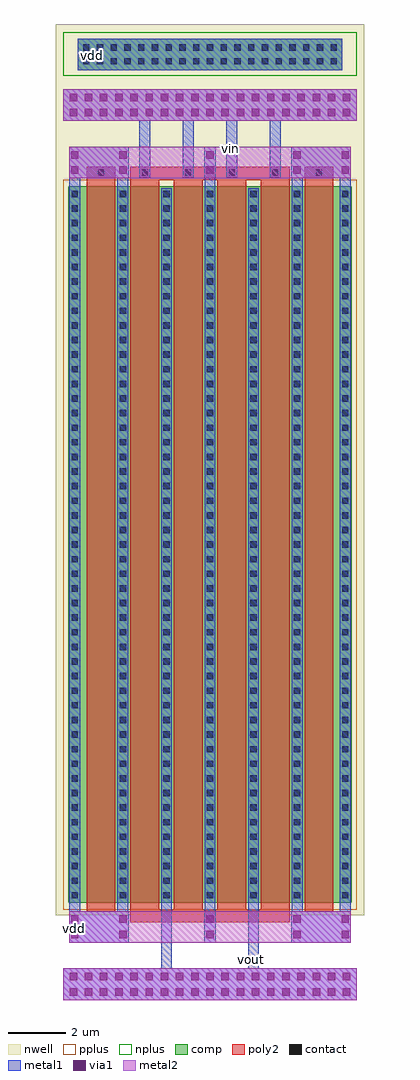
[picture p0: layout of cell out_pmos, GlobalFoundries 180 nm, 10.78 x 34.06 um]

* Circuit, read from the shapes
.subckt out_pmos vdd vin vout
XM1 vdd vdd vdd vdd pfet_03v3 w=25u l=1u m=2
XM2 vout vin vdd vdd pfet_03v3 w=25u l=1u m=4
.ends

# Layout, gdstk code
import gdstk
lib = gdstk.Library(unit=1e-6, precision=1e-09)
def R(c, l, rs):  # rectangles x0, y0, x1, y1
    for r in rs: c.add(gdstk.rectangle(r[:2], r[2:], *l))
def A(c, l, x, y, w, h, nx, ny, dx, dy):  # array of equal rectangles
    R(c, l, [(x+i*dx, y+j*dy, x+i*dx+w, y+j*dy+h) for i in range(nx) for j in range(ny)])
nwell = (21, 0)
comp = (22, 0)
poly2 = (30, 0)
pplus = (31, 0)
nplus = (32, 0)
contact = (33, 0)
metal1 = (34, 0)
via1 = (35, 0)
metal2 = (36, 0)

pfet_1 = lib.new_cell('pfet$1')
R(pfet_1, nwell, [(-0.9,-0.44,9.88,25.44)])
R(pfet_1, comp, [(-0.46,0,0,25), (0,0,8.98,25), (8.98,0,9.44,25)])
A(pfet_1, poly2, 0.19, -0.3, 1, 25.6, 6, 1, 1.52, 0)
A(pfet_1, poly2, 0.19, 25.3, 1, 0.38, 6, 1, 1.52, 0)
R(pfet_1, pplus, [(-0.63,-0.24,9.61,25.24)])
A(pfet_1, contact, -0.34, 0.15, 0.22, 0.22, 1, 49, 0, 0.51)
A(pfet_1, contact, 1.34, 0.15, 0.22, 0.22, 5, 49, 1.52, 0.51)
A(pfet_1, contact, 9.1, 0.15, 0.22, 0.22, 1, 49, 0, 0.51)
A(pfet_1, contact, 0.58, 25.38, 0.22, 0.22, 6, 1, 1.52, 0)
A(pfet_1, metal1, 1.26, 0.07, 0.38, 24.86, 5, 1, 1.52, 0)
A(pfet_1, metal1, 0.5, 25.299, 0.38, 0.382, 6, 1, 1.52, 0)
R(pfet_1, metal1, [(-0.42,0.07,-0.04,24.93), (9.02,0.07,9.4,24.93)])

via_dev_1 = lib.new_cell('via_dev$1')
R(via_dev_1, metal1, [(0,0,0.4,1.1)])
R(via_dev_1, via1, [(0.07,0.155,0.33,0.415), (0.07,0.685,0.33,0.945)])
R(via_dev_1, metal2, [(0,0,0.4,1.1)])

via_dev_2 = lib.new_cell('via_dev$2')
R(via_dev_2, metal1, [(0,0,10.24,1.1)])
A(via_dev_2, via1, 0.22, 0.155, 0.26, 0.26, 19, 2, 0.53, 0.53)
R(via_dev_2, metal2, [(0,0,10.24,1.1)])

via_dev = lib.new_cell('via_dev')
R(via_dev, comp, [(0,0,9.24,1.1)])
A(via_dev, contact, 0.19, 0.2, 0.22, 0.22, 19, 2, 0.48, 0.48)
R(via_dev, metal1, [(0,0,9.24,1.1)])

out_pmos = lib.new_cell('out_pmos')
R(out_pmos, nwell, [(0,27.59,10.78,32.82)])
R(out_pmos, poly2, [(2.61,1.47,8.17,1.91), (2.61,27.39,8.17,27.83)])
R(out_pmos, nplus, [(0.27,31.01,10.51,32.53)])
A(out_pmos, metal1, 2.16, 1.86, 0.38, 0.36, 3, 2, 3.04, 25.22)
A(out_pmos, metal1, 2.92, 27.445, 0.38, 2, 4, 1, 1.52, 0)
R(out_pmos, metal1, [(3.68,-0.145,4.06,2.22), (6.72,-0.145,7.1,2.22), (0.87,0.76,2.15,1.86), (8.63,0.76,9.91,1.86), (0.48,1.86,0.86,2.22), (9.92,1.86,10.3,2.22), (0.48,27.08,0.86,27.44), (9.92,27.08,10.3,27.44), (0.87,27.44,2.15,28.54), (8.63,27.44,9.91,28.54)])
R(out_pmos, metal2, [(0.47,0.76,10.31,1.86), (0.47,27.44,10.31,28.54)])
out_pmos.add(gdstk.Reference(pfet_1, (0.9,2.15)))
out_pmos.add(gdstk.Reference(via_dev_1, (0.47,0.76)))
out_pmos.add(gdstk.Reference(via_dev_2, (0.27,-1.245)))
out_pmos.add(gdstk.Reference(via_dev_1, (2.15,0.76)))
out_pmos.add(gdstk.Reference(via_dev_1, (9.91,0.76)))
out_pmos.add(gdstk.Reference(via_dev_1, (0.47,27.44)))
out_pmos.add(gdstk.Reference(via_dev_1, (2.15,27.44)))
out_pmos.add(gdstk.Reference(via_dev_1, (5.19,0.76)))
out_pmos.add(gdstk.Reference(via_dev_1, (8.23,0.76)))
out_pmos.add(gdstk.Reference(via_dev_1, (9.91,27.44)))
out_pmos.add(gdstk.Reference(via_dev_1, (5.19,27.44)))
out_pmos.add(gdstk.Reference(via_dev_1, (8.23,27.44)))
out_pmos.add(gdstk.Reference(via_dev_2, (0.27,29.445)))
out_pmos.add(gdstk.Reference(via_dev, (0.77,31.21)))
out_pmos.add(gdstk.Label('vdd', (1.29,31.72), layer=34, texttype=10))
out_pmos.add(gdstk.Label('vdd', (0.675,1.24), layer=34, texttype=10))
out_pmos.add(gdstk.Label('vin', (6.1,28.46), layer=34, texttype=10))
out_pmos.add(gdstk.Label('vout', (6.84,0.185), layer=34, texttype=10))

lib.write_gds('out_pmos.gds')
